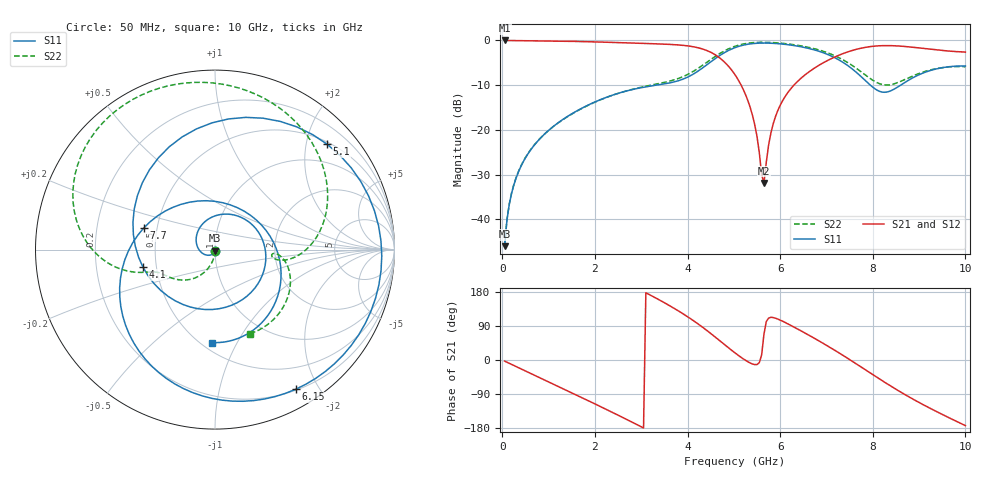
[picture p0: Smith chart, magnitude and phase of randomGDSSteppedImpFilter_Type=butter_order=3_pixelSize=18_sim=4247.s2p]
! freq	dB(S11)	phase(S11)	dB(S12)	phase(S12)
!  dB(S21)	phase(S21)	dB(S22)	phase(S22)
!S-par simulation data
#  GHz  S  DB  R 50
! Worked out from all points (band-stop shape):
!   200 points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, 50 MHz to 10 GHz, reference 50 ohm
!   highest |S21| = -0.01 dB at 50 MHz (marker M1); lowest = -31.8 dB at 5.65 GHz (marker M2)
!   |S21| within 3 dB of the highest: start of sweep to 4.565 GHz; 7.341 GHz to end of sweep
!   lowest |S11| = -46.0 dB at 50 MHz (marker M3), VSWR 1.01, Z = 50 - j0.502 ohm
!   |S11| at or under -10 dB: start of sweep to 3.325 GHz; 7.948 GHz to 8.601 GHz (653.4 MHz wide, 7.9 % of centre)
!   |S22| runs from -45.9 to -0.4 dB; largest |S21 - S12| = 0
!   S11 on the Smith chart (normalised r, x): 50 MHz: 1.00, -0.01; 4.1 GHz: 0.42, -0.10; 5.1 GHz: 0.54, +2.41; 6.15 GHz: 0.21, -1.71; 7.7 GHz: 0.42, +0.12; 10 GHz: 0.56, -0.79
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0.05  -45.99 -90.7  -0.01 -2.9  -0.01 -2.9  -45.90 -86.4
0.2  -34.21 -108.8  -0.02 -11.6  -0.02 -11.6  -34.11 -92.4
0.5  -26.26 -139.5  -0.05 -28.8  -0.05 -28.8  -26.16 -98.7
1.15  -18.84 156.5  -0.14 -66.2  -0.14 -66.2  -18.87 -110.7
1.75  -14.98 98.4  -0.26 -101.1  -0.26 -101.1  -15.03 -122.1
2.65  -11.38 12.2  -0.53 -154.7  -0.53 -154.7  -11.36 -142.1
3.4  -9.88 -67.4  -0.79 157.9  -0.79 157.9  -9.60 -156.6
4.1  -7.67 -166.4  -1.37 106.1  -1.37 106.1  -7.06 -163.4
4.5  -4.81 129.5  -2.64 70.1  -2.64 70.1  -4.27 -173.7
4.8  -2.71 84.0  -4.85 40.5  -4.85 40.5  -2.32 171.0
5.05  -1.51 49.7  -8.07 16.4  -8.07 16.4  -1.21 155.0
5.1  -1.34 43.3  -8.91 11.9  -8.91 11.9  -1.06 151.7
5.4  -0.72 8.2  -16.64 -10.4  -16.64 -10.4  -0.51 131.6
5.65  -0.59 -16.9  -31.85 67.7  -31.85 67.7  -0.41 115.4
5.85  -0.65 -35.1  -18.64 112.0  -18.64 112.0  -0.48 102.9
6.15  -0.93 -60.0  -11.88 96.4  -11.88 96.4  -0.76 84.5
6.7  -2.00 -102.8  -6.46 60.0  -6.46 60.0  -1.75 51.1
7.2  -3.97 -144.2  -3.61 24.1  -3.61 24.1  -3.51 20.8
7.7  -7.63 163.3  -1.85 -14.6  -1.85 -14.6  -6.64 -3.9
8.35  -11.41 52.7  -1.16 -65.9  -1.16 -65.9  -9.94 -4.8
9  -7.66 -28.5  -1.68 -112.1  -1.68 -112.1  -7.38 -15.5
10  -5.71 -92.1  -2.60 -173.2  -2.60 -173.2  -5.89 -67.4
